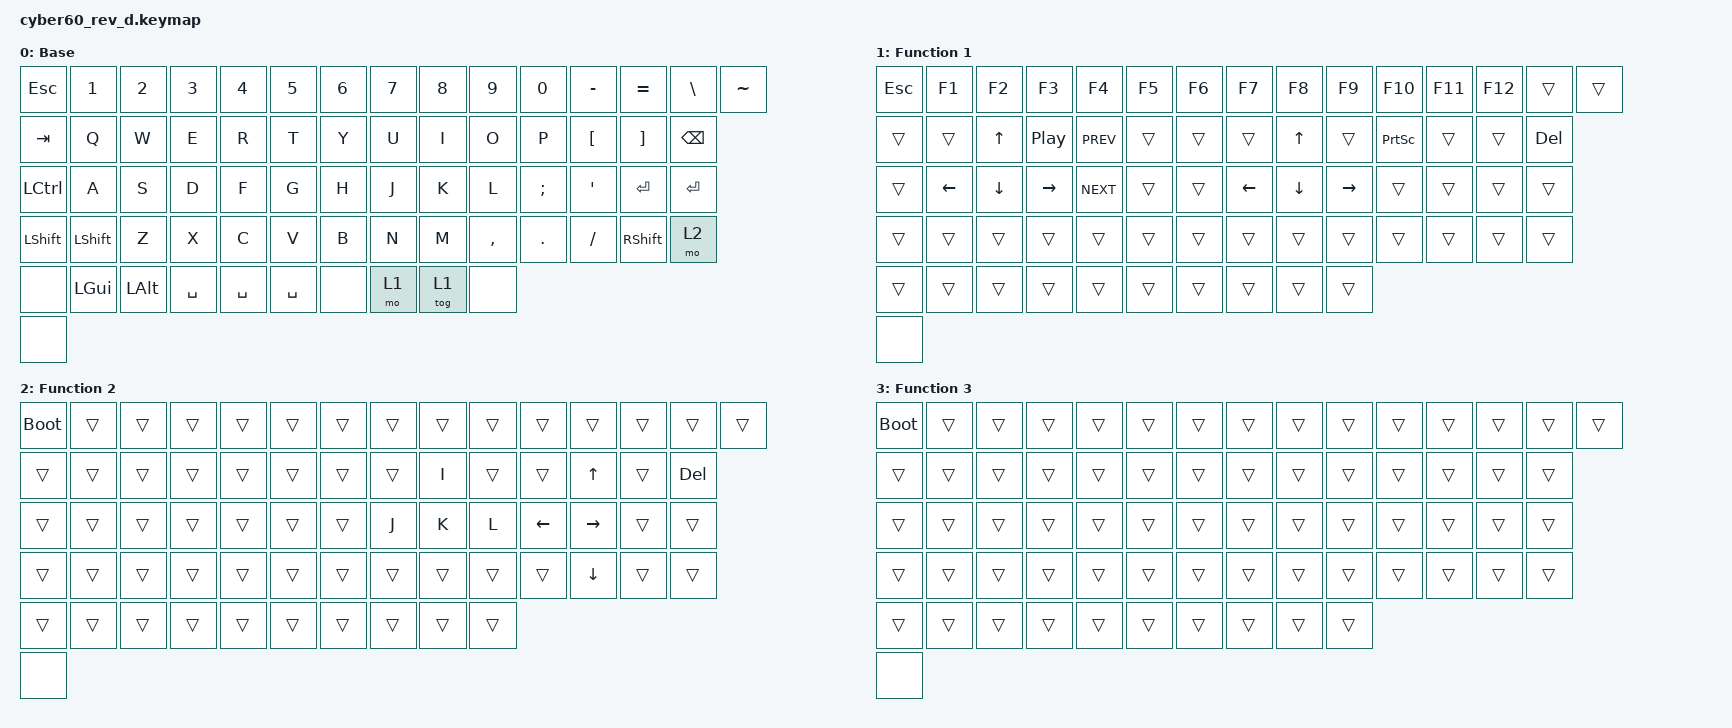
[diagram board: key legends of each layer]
#include <behaviors.dtsi>
#include <dt-bindings/zmk/keys.h>

#define FN1 1

/ {
    keymap {
        compatible = "zmk,keymap";

        default_layer {
            // Base layer
            // ------------------------------------------------------------------------------------------
            // | ESC |  1  |  2  |  3  |  4  |  5  |  6  |  7  |  8  |  9  |  0  |  -  |  =  | "\" |BKSP|
            // |  TAB |  Q  |  W  |  E  |  R  |  T  |  Y  |  U  |  I  |  O  |  P  |  [  |  ]  |   "\"   |
            // | CAPS  |  A  |  S  |  D  |  F  |  G  |  H  |  J  |  K  |  L  |  ;  |  '  |NUHS| ENTER   |
            // | SHIFT |NUBS| Z |  X  |  C  |  V  |  B  |  N  |  M  |  ,  |  .  |  /  |    Shift   | FN |
            // |  LCTL  |  LWIN  |  LALT  | SPACE  | SPACE |    SPACE   |  RALT | FN  |   RWIN  | RCTRL |
            // | Rotary | (<-- Rotary switch) ----------------------------------------------------------- 

            display-name = "Base";
            bindings = <
&kp ESC           &kp N1          &kp N2    &kp N3     &kp N4     &kp N5     &kp N6  &kp N7  &kp N8  &kp N9     &kp N0    &kp MINUS  &kp EQUAL  &kp BSLH       &kp TILDE
&kp TAB           &kp Q           &kp W     &kp E      &kp R      &kp T      &kp Y   &kp U   &kp I   &kp O      &kp P     &kp LBKT   &kp RBKT   &kp BACKSPACE
&kp LEFT_CONTROL  &kp A           &kp S     &kp D      &kp F      &kp G      &kp H   &kp J   &kp K   &kp L      &kp SEMI  &kp SQT    &kp ENTER  &kp RET
&kp LSHFT         &kp LEFT_SHIFT  &kp Z     &kp X      &kp C      &kp V      &kp B   &kp N   &kp M   &kp COMMA  &kp DOT   &kp FSLH   &kp RSHFT  &mo 2
&none             &kp LEFT_GUI    &kp LALT  &kp SPACE  &kp SPACE  &kp SPACE  &none   &mo 1   &tog 1  &none
&none
            >;
        };

        fn_layer_1 {
            display-name = "Function 1";
            bindings = <
&kp ESC  &kp F1          &kp F2          &kp F3            &kp F4      &kp F5  &kp F6  &kp F7          &kp F8          &kp F9           &kp F10          &kp F11  &kp F12  &trans   &trans
&trans   &trans          &kp UP_ARROW    &kp C_PLAY_PAUSE  &kp C_PREV  &trans  &trans  &trans          &kp UP_ARROW    &trans           &kp PRINTSCREEN  &trans   &trans   &kp DEL
&trans   &kp LEFT_ARROW  &kp DOWN_ARROW  &kp RIGHT_ARROW   &kp C_NEXT  &trans  &trans  &kp LEFT_ARROW  &kp DOWN_ARROW  &kp RIGHT_ARROW  &trans           &trans   &trans   &trans
&trans   &trans          &trans          &trans            &trans      &trans  &trans  &trans          &trans          &trans           &trans           &trans   &trans   &trans
&trans   &trans          &trans          &trans            &trans      &trans  &trans  &trans          &trans          &trans
&none
            >;
        };

        fn_layer_2 {
            display-name = "Function 2";
            bindings = <
&bootloader  &trans  &trans  &trans  &trans  &trans  &trans  &trans  &trans  &trans  &trans          &trans           &trans  &trans   &trans
&trans       &trans  &trans  &trans  &trans  &trans  &trans  &trans  &kp I   &trans  &trans          &kp UP_ARROW     &trans  &kp DEL
&trans       &trans  &trans  &trans  &trans  &trans  &trans  &kp J   &kp K   &kp L   &kp LEFT_ARROW  &kp RIGHT_ARROW  &trans  &trans
&trans       &trans  &trans  &trans  &trans  &trans  &trans  &trans  &trans  &trans  &trans          &kp DOWN_ARROW   &trans  &trans
&trans       &trans  &trans  &trans  &trans  &trans  &trans  &trans  &trans  &trans
&none
            >;
        };

        fn_layer_3 {
            display-name = "Function 3";

            // Function layer
            // ------------------------------------------------------------------------------------------
            // | RESET | F1 |  F2 |  F3 |  F4 |  F5 |  F6 |  F7 |  F8 |  F9 | F10 | F11 | F12 |TRNS | DEL |
            // |BT_CLR |TRNS | UP  | BT0 | BT1 | BT2 | BT3 | BT4 | TRNS | TRNS | TRNS | TRNS | TRNS | TRNS|
            // | BOOTL  |LEFT |DOWN |RIGHT|TRNS |TRNS |TRNS | TRNS| TRNS |TRNS| TRNS |TRNS | TRNS | TRNS  |
            // |S_UNLK|TRNS|TRNS|TRNS|TRNS | TRNS| TRNS | TRNS |  TRNS| TRNS | TRNS| TRNS |   TRNS   |TRNS|
            // |  TRNS | TRNS | TRNS |      TRNS      | TRNS |     TRNS     |  TRNS |  TRNS | TRNS | TRNS |
            // | Rotary | (<-- Rotary switch) ----------------------------------------------------------- 

            bindings = <
&bootloader  &trans  &trans  &trans  &trans  &trans  &trans  &trans  &trans  &trans  &trans  &trans  &trans  &trans  &trans
&trans       &trans  &trans  &trans  &trans  &trans  &trans  &trans  &trans  &trans  &trans  &trans  &trans  &trans
&trans       &trans  &trans  &trans  &trans  &trans  &trans  &trans  &trans  &trans  &trans  &trans  &trans  &trans
&trans       &trans  &trans  &trans  &trans  &trans  &trans  &trans  &trans  &trans  &trans  &trans  &trans  &trans
&trans       &trans  &trans  &trans  &trans  &trans  &trans  &trans  &trans  &trans
&none
            >;
        };
    };
};
